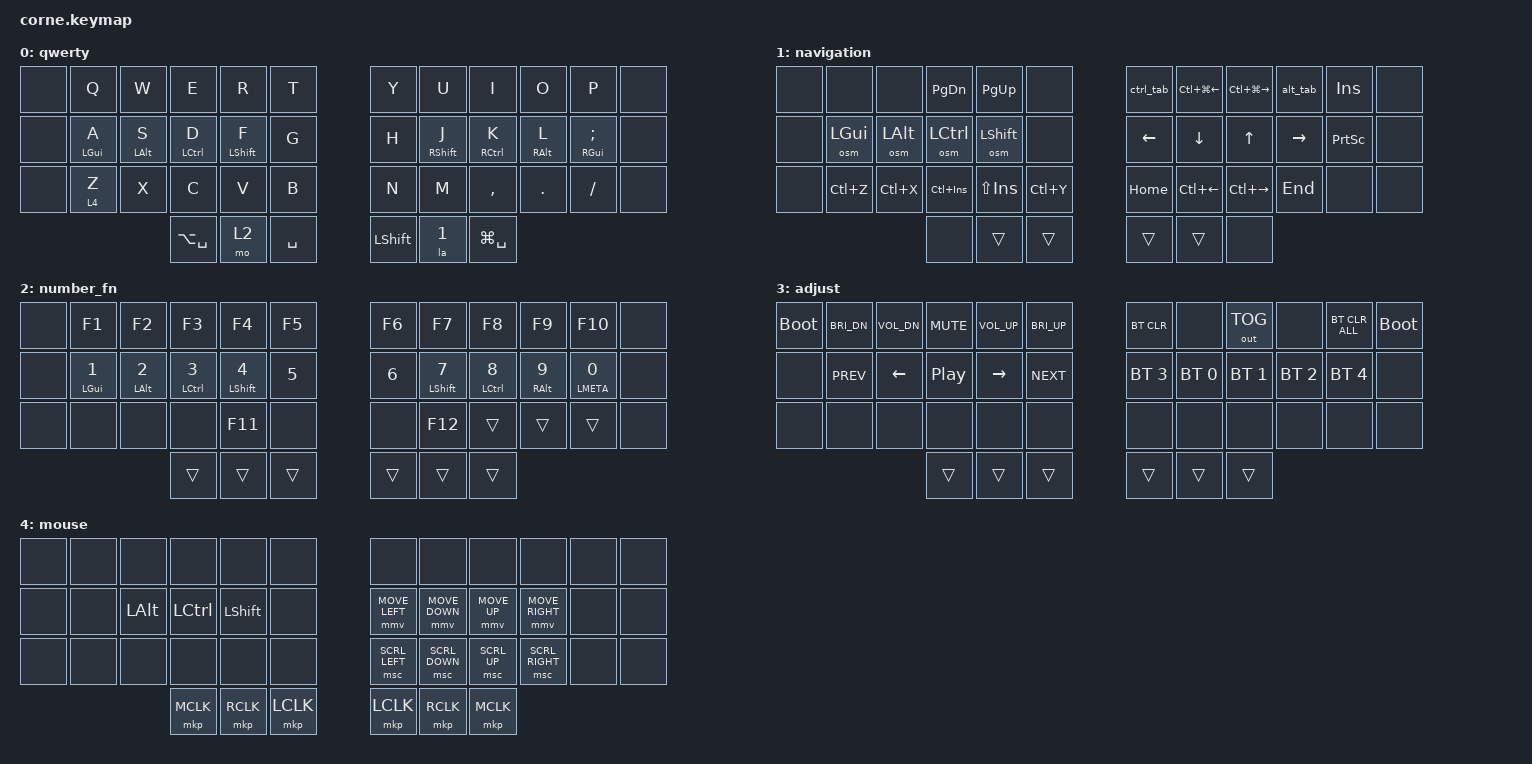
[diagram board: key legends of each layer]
#define ZMK_MOUSE_DEFAULT_MOVE_VAL 1500  // 600
#define ZMK_MOUSE_DEFAULT_SCRL_VAL 20    // 10

#include <input/processors.dtsi>
#include <behaviors.dtsi>
#include <dt-bindings/zmk/bt.h>
#include <dt-bindings/zmk/keys.h>
#include <dt-bindings/zmk/outputs.h>
#include <dt-bindings/zmk/pointing.h>

&mmv {
    acceleration-exponent = <1>;      // 1
    time-to-max-speed-ms = <500>;     // 300
};

&msc {
    acceleration-exponent = <0>;      // 0
    time-to-max-speed-ms = <40>;      // 300
};

/ {
    behaviors {
        hrl: homerow_layer {
            compatible = "zmk,behavior-hold-tap";
            label = "HOMEROW_LAYER";
            bindings = <&mo>, <&kp>;

            #binding-cells = <2>;
            tapping-term-ms = <200>;
            quick-tap-ms = <175>;
            flavor = "balanced";
            require-prior-idle-ms = <150>;
        };

        osm: osm {
            compatible = "zmk,behavior-sticky-key";
            label = "OSM";
            bindings = <&kp>;
            #binding-cells = <1>;
            release-after-ms = <1000>;
            quick-release;
            ignore-modifiers;
        };

        bsp_del: bsp_del {
            compatible = "zmk,behavior-mod-morph";
            label = "BSP_DEL";
            bindings = <&kp BSPC>, <&kp DEL>;

            #binding-cells = <0>;
            mods = <(MOD_LSFT|MOD_RSFT)>;
        };

        ctrl_tab: ctrl_tab {
            compatible = "zmk,behavior-mod-morph";
            label = "CTRL_TAB";
            bindings = <&m_hold_mod_press_key LCTRL TAB>, <&kp TAB>;

            #binding-cells = <0>;
            mods = <(MOD_LCTL)>;
            keep-mods = <(MOD_LCTL)>;
        };

        alt_tab: alt_tab {
            compatible = "zmk,behavior-mod-morph";
            label = "ALT_TAB";
            bindings = <&m_hold_mod_press_key LALT TAB>, <&kp TAB>;

            #binding-cells = <0>;
            mods = <(MOD_LALT)>;
            keep-mods = <(MOD_LALT)>;
        };

        hrm: hrm {
            compatible = "zmk,behavior-hold-tap";
            label = "HRM";
            bindings = <&kp>, <&kp>;

            #binding-cells = <2>;
            tapping-term-ms = <185>;
            quick-tap-ms = <175>;
            flavor = "balanced";
        };

        hml: hml {
            compatible = "zmk,behavior-hold-tap";
            label = "home mod left";
            bindings = <&kp>, <&kp>;

            #binding-cells = <2>;
            flavor = "balanced";
            require-prior-idle-ms = <110>;
            quick-tap-ms = <165>;
            tapping-term-ms = <200>;
            hold-trigger-on-release;
            hold-trigger-key-positions = <6 7 8 9 10 22 21 20 19 18 30 31 32 33 34 41 40 39>;
        };

        hmr: hmr {
            compatible = "zmk,behavior-hold-tap";
            label = "Home mod right";
            bindings = <&kp>, <&kp>;

            #binding-cells = <2>;
            flavor = "balanced";
            require-prior-idle-ms = <110>;
            quick-tap-ms = <165>;
            tapping-term-ms = <200>;
            hold-trigger-on-release;
            hold-trigger-key-positions = <1 2 3 4 5 17 16 15 14 13 25 26 27 28 29 38 37 36>;
        };

        l_lock: l_lock {
            compatible = "zmk,behavior-toggle-layer";
            label = "Layer lock";
            #binding-cells = <1>;
            toggle-mode = "flip";
        };
    };

    macros {
        switch_lng_meta_spc: switch_lng_meta_spc {
            compatible = "zmk,behavior-macro";
            #binding-cells = <0>;
            bindings =
                <&macro_press>,
                <&kp LEFT_META>,
                <&macro_tap>,
                <&kp SPACE>,
                <&macro_wait_time 50>,
                <&macro_release>,
                <&kp LEFT_META>;

            label = "SWITCH_LNG_META_SPC";
        };

        switch_lng_shft_alt: switch_lng_shft_alt {
            compatible = "zmk,behavior-macro";
            #binding-cells = <0>;
            bindings =
                <&macro_press>,
                <&kp LSHIFT>,
                <&macro_tap>,
                <&kp LALT>,
                <&macro_wait_time 50>,
                <&macro_release>,
                <&kp LSHIFT>;

            label = "SWITCH_LNG_SHFT_ALT";
        };

        m_hold_mod_press_key: m_hold_mod_press_key {
            compatible = "zmk,behavior-macro-two-param";
            #binding-cells = <2>;
            bindings =
                <&macro_press>,
                <&macro_param_1to1 &kp MACRO_PLACEHOLDER>,
                <&macro_tap>,
                <&macro_param_2to1 &kp MACRO_PLACEHOLDER>;

            label = "M_HOLD_MOD_PRESS_KEY";
        };

        la: la {
            compatible = "zmk,behavior-macro-one-param";
            #binding-cells = <1>;
            bindings =
                <&macro_tap>,
                <&kp 0>,
                <&macro_press>,
                <&macro_param_1to1 &mo MACRO_PLACEHOLDER>,
                <&macro_pause_for_release>,
                <&macro_release>,
                <&macro_param_1to1 &mo MACRO_PLACEHOLDER &kp LCTRL &kp LSHFT &kp LALT &kp LGUI>;

            label = "LA";
        };
    };

    combos {
        compatible = "zmk,combos";

        c_capswords {
            bindings = <&caps_word>;
            key-positions = <38 39>;
            layers = <0>;
            timeout-ms = <50>;
        };

        c_esc {
            bindings = <&kp ESC>;
            key-positions = <2 3>;
            layers = <0>;
        };

        c_bspc {
            bindings = <&bsp_del>;
            key-positions = <8 7>;
            layers = <0 1 2>;
        };

        c_tg_l_mouse {
            bindings = <&tog 4>;
            key-positions = <25 34>;
            layers = <0 4>;
        };

        c_enter {
            bindings = <&kp RET>;
            key-positions = <4 3>;
            layers = <0 1 2>;
        };

        c_tab {
            bindings = <&kp TAB>;
            key-positions = <8 9>;
            layers = <0>;
        };

        c_sqt {
            bindings = <&kp SQT>;
            key-positions = <6 7>;
            layers = <0 2>;
        };

        c_grave {
            bindings = <&kp GRAVE>;
            key-positions = <4 5>;
            layers = <0 2>;
        };

        c_brace {
            bindings = <&kp LBKT>;
            key-positions = <16 17>;
            layers = <0 2>;
        };

        c_rbkt {
            bindings = <&kp RBKT>;
            key-positions = <18 19>;
            layers = <0 2>;
        };

        c_lpar {
            bindings = <&kp LPAR>;
            key-positions = <15 16>;
            layers = <0 2>;
        };

        c_rpar {
            bindings = <&kp RPAR>;
            key-positions = <19 20>;
            layers = <0 2>;
        };

        c_lbrc {
            bindings = <&kp LBRC>;
            key-positions = <28 29>;
            layers = <0 2>;
        };

        c_rbrc {
            bindings = <&kp RBRC>;
            key-positions = <30 31>;
            layers = <0 2>;
        };

        c_caret {
            bindings = <&kp CARET>;
            key-positions = <5 17>;
            layers = <0 2>;
        };

        c_dllr {
            bindings = <&kp DLLR>;
            key-positions = <6 18>;
            layers = <0 2>;
        };

        c_excl {
            bindings = <&kp EXCL>;
            key-positions = <4 16>;
            layers = <0 2>;
        };

        c_qmark {
            bindings = <&kp QMARK>;
            key-positions = <7 19>;
            layers = <0 2>;
        };

        c_under {
            bindings = <&kp UNDER>;
            key-positions = <27 28>;
            layers = <0 2>;
        };

        c_minus {
            bindings = <&kp MINUS>;
            key-positions = <32 31>;
            layers = <0 2>;
        };

        c_amps {
            bindings = <&kp AMPS>;
            key-positions = <3 15>;
            layers = <0 2>;
        };

        c_pipe {
            bindings = <&kp PIPE>;
            key-positions = <8 20>;
            layers = <0 2>;
        };

        c_equal {
            bindings = <&kp EQUAL>;
            key-positions = <3 16>;
            layers = <0 2>;
        };

        c_plus {
            bindings = <&kp PLUS>;
            key-positions = <19 8>;
            layers = <0 2>;
        };

        c_fsls {
            bindings = <&kp FSLH>;
            key-positions = <15 4>;
            layers = <0 2>;
        };

        c_bslsh {
            bindings = <&kp BSLH>;
            key-positions = <7 20>;
            layers = <0 2>;
        };

        c_lt {
            bindings = <&kp LT>;
            key-positions = <15 28>;
            layers = <0 2>;
        };

        c_gt {
            bindings = <&kp GT>;
            key-positions = <20 31>;
            layers = <0 2>;
        };

        c_prct {
            bindings = <&kp PRCNT>;
            key-positions = <4 17>;
            layers = <0 2>;
        };

        c_star {
            bindings = <&kp STAR>;
            key-positions = <7 18>;
            layers = <0 2>;
        };

        c_hash {
            bindings = <&kp HASH>;
            key-positions = <27 26>;
            layers = <0 2>;
        };

        c_at {
            bindings = <&kp AT>;
            key-positions = <32 33>;
            layers = <0 2>;
        };

        c_mouse_lock {
            bindings = <&l_lock 4>;
            key-positions = <7 8>;
            layers = <4>;
        };
    };

    keymap {
        compatible = "zmk,keymap";

        qwerty {
            // .----------------------------------------------------------------------------.       .-------------------------------------------------------------------------------.
            // | ALT(SPACE) |    Q      |    W     |   E       |    R      |    T           |       |   Y            |    U            |    I      |    O     |     P    |    [     |
            // |------------+-----------+----------+-----------+-----------+----------------|       |----------------+-----------------+-----------+----------+----------+----------|
            // |      `     | LGUI / A  | LALT / S | LCTRL / D | NAV / F   |    G           |       |   H            |  NAV / J        | RCTRL / K | RALT / L | RGUI / ; |     '    |
            // |------------+-----------+----------+-----------+-----------+----------------|       |----------------+-----------------+-----------+----------+----------+----------|
            // | GUI(SPACE) |    Z      |    X     |   C       |    V      |     B          |       |       N        |    M            |    ,      |    .     |     /    |     ]    |
            // '-----------------------------------+-----------+-----------+----------------|       |----------------+-----------------+-----------+--------------------------------'
            //                                     |  ESC      | NUM / TAB | LSHIFT / SPACE |       | RSHIFT / ENTER | SYM / BACKSPACE | DELETE    |
            //                                     '-----------+-----------+----------------'       '----------------+-----------------+-----------'

            bindings = <
&none  &kp Q        &kp W        &kp E          &kp R         &kp T        &kp Y      &kp U         &kp I          &kp O        &kp P                &none
&none  &hml LGUI A  &hml LALT S  &hml LCTRL D   &hml LSHFT F  &kp G        &kp H      &hmr RSHFT J  &hmr RCTRL K   &hmr RALT L  &hmr RGUI SEMICOLON  &none
&none  &lt 4 Z      &kp X        &kp C          &kp V         &kp B        &kp N      &kp M         &kp COMMA      &kp DOT      &kp FSLH             &none
                                 &kp LA(SPACE)  &mo 2         &kp SPACE    &kp LSHFT  &la 1         &kp LG(SPACE)
            >;
        };

        navigation {
            // .--------------------------------------------------------------.       .-----------------------------------------------------------------------------.
            // |       |       |       VOL- |      MUTE  |     VOL+   |       |       | PAGE_DOWN | WORKSPACE_PREV | WORKSPACE_NEXT | PAGE_UP |   INSERT    |       |
            // |-------+-------+------------+------------+------------+-------|       |-----------+----------------+----------------+---------+-------------+-------|
            // |       |  LGUI |    LALT    |      LCTRL |     LSHIFT |       |       |      LEFT |           DOWN |             UP |   RIGHT | PRINTSCREEN |       |
            // |-------+-------+------------+------------+------------+-------|       |-----------+----------------+----------------+---------+-------------+-------|
            // |       |       | PREV_TRACK | PLAY/PAUSE | NEXT_TRACK |       |       |      HOME |      PREV_WORD |      NEXT_WORD |     END |             |       |
            // '----------------------------+------------+------------+-------|       |-----------+----------------+----------------+-------------------------------'
            //                              |            |            |       |       |           |                |                |
            //                              '------------+------------+-------'       '-----------+----------------+----------------'

            bindings = <
&none  &none      &none      &kp PG_DN    &kp PG_UP    &none        &ctrl_tab       &kp LC(LG(LEFT))  &kp LC(LG(RIGHT))  &alt_tab   &kp INS          &none
&none  &osm LGUI  &osm LALT  &osm LCTRL   &osm LSHIFT  &none        &kp LEFT_ARROW  &kp DOWN          &kp UP             &kp RIGHT  &kp PRINTSCREEN  &none
&none  &kp LC(Z)  &kp LC(X)  &kp LC(INS)  &kp LS(INS)  &kp LC(Y)    &kp HOME        &kp LC(LEFT)      &kp LC(RIGHT)      &kp END    &none            &none
                             &none        &trans       &trans       &trans          &trans            &none
            >;
        };

        number_fn {
            // .-----------------------------------------------.       .-----------------------------------------------.
            // |       |  F10  |   F7  |   F8  |   F9  |   %   |       |   *   |   7   |   8   |   9   |   /   |       |
            // |-------+-------+-------+-------+-------+-------|       |-------+-------+-------+-------+-------+-------|
            // |       |  F11  |   F4  |   F5  |   F6  |   =   |       |   +   |   4   |   5   |   6   |   -   |       |
            // |-------+-------+-------+-------+-------+-------|       |-------+-------+-------+-------+-------+-------|
            // |       |  F12  |   F1  |   F2  |   F3  |       |       |   0   |   1   |   2   |   3   |   .   |       |
            // '-----------------------+-------+-------+-------|       |-------+-------+-------+-----------------------'
            //                         |       |       |       |       |       |       |       |
            //                         '-------+-------+-------'       '-------+-------+-------'

            bindings = <
&none           &kp F1              &kp F2             &kp F3           &kp F4               &kp F5         
&kp F6          &kp F7              &kp F8             &kp F9           &kp F10              &none          
&none           &hml LGUI N1        &hml LALT N2       &hml LCTRL N3    &hml LSHIFT N4       &kp N5         
&kp N6          &hmr LEFT_SHIFT N7  &hmr LCTRL N8      &hmr RALT N9     &hmr LMETA N0        &none          
&none           &none               &none              &none            &kp F11              &none          
&none           &kp F12             &trans             &trans           &trans               &none          
&trans          &trans              &trans             &trans           &trans               &trans        
>;
        };

        adjust {
            // .-----------------------------------------------------------.       .-----------------------------------------------------.
            // |       |           |           |           |       |       |       | BT_CLR |       |       |       |       | BT_CLR_ALL |
            // |-------+-----------+-----------+-----------+-------+-------|       |--------+-------+-------+-------+-------+------------|
            // |       | RMB_CLICK | MMB_CLICK | LMB_CLICK |       |       |       |  BT3   | BT0   | BT1   | BT2   | BT4   |            |
            // |-------+-----------+-----------+-----------+-------+-------|       |--------+-------+-------+-------+-------+------------|
            // |       |           |           |           |       |       |       |        |       |       |       |       |            |
            // '-------------------------------+-----------+-------+-------|       |--------+-------+-------+----------------------------'
            //                                 |           |       |       |       |        |       |       |
            //                                 '-----------+-------+-------'       '--------+-------+-------'

            bindings = <
&bootloader  &kp C_BRI_DN  &kp C_VOL_DN  &kp C_MUTE  &kp C_VOL_UP  &kp C_BRI_UP    &bt BT_CLR    &none         &out OUT_TOG  &none         &bt BT_CLR_ALL  &bootloader
&none        &kp C_PREV    &kp LEFT      &kp C_PP    &kp RIGHT     &kp C_NEXT      &bt BT_SEL 3  &bt BT_SEL 0  &bt BT_SEL 1  &bt BT_SEL 2  &bt BT_SEL 4    &none
&none        &none         &none         &none       &none         &none           &none         &none         &none         &none         &none           &none
                                         &trans      &trans        &trans          &trans        &trans        &trans
            >;
        };

        mouse {
            bindings = <
&none  &none  &none     &none      &none      &none        &none           &none           &none         &none            &none  &none
&none  &none  &kp LALT  &kp LCTRL  &kp LSHFT  &none        &mmv MOVE_LEFT  &mmv MOVE_DOWN  &mmv MOVE_UP  &mmv MOVE_RIGHT  &none  &none
&none  &none  &none     &none      &none      &none        &msc SCRL_LEFT  &msc SCRL_DOWN  &msc SCRL_UP  &msc SCRL_RIGHT  &none  &none
                        &mkp MCLK  &mkp RCLK  &mkp LCLK    &mkp LCLK       &mkp RCLK       &mkp MCLK
            >;
        };
    };

    conditional_layers {
        compatible = "zmk,conditional-layers";

        ns_adj {
            if-layers = <1 2>;
            then-layer = <3>;
        };

        nn_adj {
            if-layers = <1 2>;
            then-layer = <3>;
        };
    };
};
